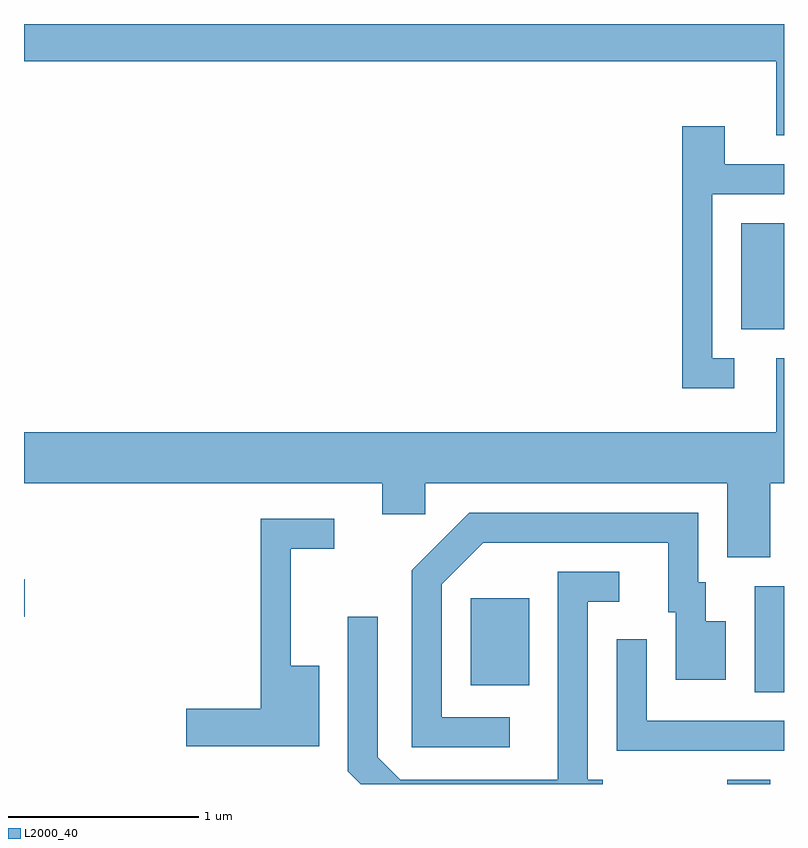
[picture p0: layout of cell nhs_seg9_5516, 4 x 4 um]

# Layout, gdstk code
import gdstk
lib = gdstk.Library(unit=1e-6, precision=1e-09)
def R(c, l, rs):  # rectangles x0, y0, x1, y1
    for r in rs: c.add(gdstk.rectangle(r[:2], r[2:], *l))
def P(c, l, *ps):  # polygons
    for p in ps: c.add(gdstk.Polygon(p, *l))
L2000_40 = (2000, 40)

nhs_seg9_5516 = lib.new_cell('nhs_seg9_5516')
R(nhs_seg9_5516, L2000_40, [(351.311,2012.432,351.539,2012.454), (351.456,2012.916,351.611,2013.474), (349.961,2012.951,350.269,2013.409), (347.611,2013.311,347.614,2013.509), (351.386,2014.826,351.611,2015.384)])
P(nhs_seg9_5516, L2000_40, [(351.611,2016.432),(347.611,2016.432),(347.611,2016.236),(351.571,2016.236),(351.571,2015.846),(351.611,2015.846)],
  [(351.348,2014.674),(351.234,2014.674),(351.234,2015.536),(351.611,2015.536),(351.611,2015.694),(351.299,2015.694),(351.299,2015.894),(351.076,2015.894),(351.076,2014.516),(351.348,2014.516)],
  [(351.539,2014.016),(351.611,2014.016),(351.611,2014.674),(351.571,2014.674),(351.571,2014.284),(347.611,2014.284),(347.611,2014.016),(349.496,2014.016),(349.496,2013.851),(349.724,2013.851),(349.724,2014.016),(351.311,2014.016),(351.311,2013.626),(351.539,2013.626)],
  [(350.168,2012.784),(349.809,2012.784),(349.809,2013.484),(350.027,2013.701),(351.001,2013.701),(351.001,2013.336),(351.041,2013.336),(351.041,2012.981),(351.304,2012.981),(351.304,2013.289),(351.199,2013.289),(351.199,2013.494),(351.159,2013.494),(351.159,2013.859),(349.954,2013.859),(349.651,2013.557),(349.651,2012.626),(350.168,2012.626)],
  [(349.164,2013.054),(349.014,2013.054),(349.014,2013.671),(349.243,2013.671),(349.243,2013.829),(348.856,2013.829),(348.856,2012.829),(348.466,2012.829),(348.466,2012.631),(349.164,2012.631)],
  [(350.658,2012.454),(350.579,2012.454),(350.579,2013.391),(350.743,2013.391),(350.743,2013.549),(350.421,2013.549),(350.421,2012.454),(349.592,2012.454),(349.474,2012.572),(349.474,2013.313),(349.316,2013.313),(349.316,2012.499),(349.383,2012.432),(350.658,2012.432)],
  [(351.611,2012.764),(350.889,2012.764),(350.889,2013.193),(350.731,2013.193),(350.731,2012.606),(351.611,2012.606)])

lib.write_gds('nhs_seg9_5516.gds')
